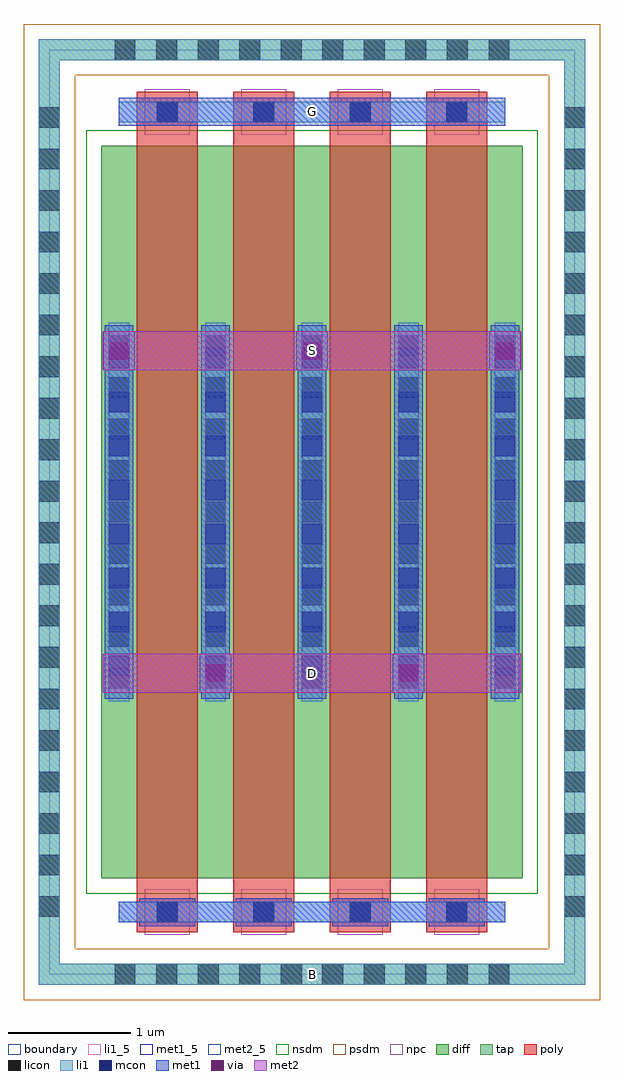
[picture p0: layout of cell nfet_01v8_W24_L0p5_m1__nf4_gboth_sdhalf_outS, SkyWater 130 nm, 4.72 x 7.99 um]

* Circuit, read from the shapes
.subckt nfet_01v8_W24_L0p5_m1__nf4_gboth_sdhalf_outS B D G S
XM1 D G S B sky130_fd_pr__nfet_01v8 w=6 l=0.5 m=4
.ends

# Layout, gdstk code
import gdstk
lib = gdstk.Library(unit=1e-6, precision=1e-09)
def R(c, l, rs):  # rectangles x0, y0, x1, y1
    for r in rs: c.add(gdstk.rectangle(r[:2], r[2:], *l))
def A(c, l, x, y, w, h, nx, ny, dx, dy):  # array of equal rectangles
    R(c, l, [(x+i*dx, y+j*dy, x+i*dx+w, y+j*dy+h) for i in range(nx) for j in range(ny)])
diff = (65, 20)
tap = (65, 44)
poly = (66, 20)
licon = (66, 44)
li1_5 = (67, 5)
li1 = (67, 20)
mcon = (67, 44)
met1_5 = (68, 5)
met1 = (68, 20)
via = (68, 44)
met2_5 = (69, 5)
met2 = (69, 20)
nsdm = (93, 44)
psdm = (94, 20)
npc = (95, 20)
boundary = (235, 4)

sky130_fd_pr__nfet_01v8_ = lib.new_cell('sky130_fd_pr__nfet_01v8_NZFWS7')
R(sky130_fd_pr__nfet_01v8_, diff, [(-1.725,-3,1.725,3)])
R(sky130_fd_pr__nfet_01v8_, tap, [(-2.235,-3.87,2.235,-3.7), (-2.235,-3.7,-2.065,3.7), (2.065,-3.7,2.235,3.7), (-2.235,3.7,2.235,3.87)])
A(sky130_fd_pr__nfet_01v8_, poly, -1.435, -3.44, 0.5, 6.88, 4, 1, 0.79, 0)
A(sky130_fd_pr__nfet_01v8_, licon, -1.615, -3.87, 0.17, 0.17, 10, 2, 0.34, 7.57)
A(sky130_fd_pr__nfet_01v8_, licon, -1.27, -3.36, 0.17, 0.17, 4, 2, 0.79, 6.55)
A(sky130_fd_pr__nfet_01v8_, licon, -2.235, -3.315, 0.17, 0.17, 1, 20, 0, 0.34)
A(sky130_fd_pr__nfet_01v8_, licon, 2.065, -3.315, 0.17, 0.17, 1, 20, 0, 0.34)
A(sky130_fd_pr__nfet_01v8_, licon, -1.665, -1.445, 0.17, 0.17, 5, 9, 0.79, 0.34)
A(sky130_fd_pr__nfet_01v8_, li1, -1.665, -1.55, 0.17, 3.1, 5, 1, 0.79, 0)
R(sky130_fd_pr__nfet_01v8_, li1, [(-2.235,-3.87,2.235,-3.7), (-2.235,-3.7,-2.065,3.7), (2.065,-3.7,2.235,3.7), (-1.58,-3.36,1.58,-3.19), (-1.58,3.19,1.58,3.36), (-2.235,3.7,2.235,3.87)])
A(sky130_fd_pr__nfet_01v8_, mcon, -1.27, -3.36, 0.17, 0.17, 4, 2, 0.79, 6.55)
A(sky130_fd_pr__nfet_01v8_, mcon, -1.665, -1.345, 0.17, 0.17, 5, 8, 0.79, 0.36)
A(sky130_fd_pr__nfet_01v8_, met1, -1.415, -3.39, 0.46, 0.03, 4, 2, 0.79, 0.2)
A(sky130_fd_pr__nfet_01v8_, met1, -1.695, -1.53, 0.23, 3.06, 5, 1, 0.79, 0)
A(sky130_fd_pr__nfet_01v8_, met1, -1.415, 3.16, 0.46, 0.03, 4, 2, 0.79, 0.2)
R(sky130_fd_pr__nfet_01v8_, met1, [(-1.58,-3.36,1.58,-3.19), (-1.58,3.19,1.58,3.36)])
R(sky130_fd_pr__nfet_01v8_, nsdm, [(-1.85,-3.125,1.85,3.125)])
R(sky130_fd_pr__nfet_01v8_, psdm, [(-2.36,-3.995,2.36,-3.575), (-2.36,-3.575,-1.94,3.575), (1.94,-3.575,2.36,3.575), (-2.36,3.575,2.36,3.995)])
A(sky130_fd_pr__nfet_01v8_, npc, -1.37, -3.46, 0.37, 0.37, 4, 2, 0.79, 6.55)
R(sky130_fd_pr__nfet_01v8_, boundary, [(-2.15,-3.785,2.15,3.785)])
sky130_fd_pr__nfet_01v8_.add(gdstk.Label('B', (0,-3.785), layer=67, texttype=5))
sky130_fd_pr__nfet_01v8_.add(gdstk.Label('D0', (-1.58,0), layer=67, texttype=5))
sky130_fd_pr__nfet_01v8_.add(gdstk.Label('G', (1.185,3.275), layer=67, texttype=5))
sky130_fd_pr__nfet_01v8_.add(gdstk.Label('G', (0.395,3.275), layer=67, texttype=5))
sky130_fd_pr__nfet_01v8_.add(gdstk.Label('G', (-0.395,3.275), layer=67, texttype=5))
sky130_fd_pr__nfet_01v8_.add(gdstk.Label('G', (-1.185,3.275), layer=67, texttype=5))
sky130_fd_pr__nfet_01v8_.add(gdstk.Label('S1', (-0.79,0), layer=67, texttype=5))
sky130_fd_pr__nfet_01v8_.add(gdstk.Label('D2', (0,0), layer=67, texttype=5))
sky130_fd_pr__nfet_01v8_.add(gdstk.Label('S3', (0.79,0), layer=67, texttype=5))

nfet_01v8_w24_l0p5_m1__n = lib.new_cell('nfet_01v8_W24_L0p5_m1__nf4_gboth_sdhalf_outS')
R(nfet_01v8_w24_l0p5_m1__n, li1_5, [(2.065,-0.085,2.235,0.085)])
R(nfet_01v8_w24_l0p5_m1__n, li1, [(2.065,-0.085,2.235,0.085)])
R(nfet_01v8_w24_l0p5_m1__n, met1_5, [(0.57,6.945,3.73,7.175)])
A(nfet_01v8_w24_l0p5_m1__n, met1, 0.44, 4.945, 0.26, 0.32, 3, 1, 1.58, 0)
R(nfet_01v8_w24_l0p5_m1__n, met1, [(1.23,2.305,1.49,2.625), (2.81,2.305,3.07,2.625), (0.57,6.945,3.73,7.175)])
A(nfet_01v8_w24_l0p5_m1__n, via, 0.495, 5.03, 0.15, 0.15, 3, 1, 1.58, 0)
R(nfet_01v8_w24_l0p5_m1__n, via, [(1.285,2.39,1.435,2.54), (2.865,2.39,3.015,2.54)])
R(nfet_01v8_w24_l0p5_m1__n, met2_5, [(0.435,2.305,3.865,2.625), (0.435,4.945,3.865,5.265)])
R(nfet_01v8_w24_l0p5_m1__n, met2, [(0.435,2.305,3.865,2.625), (0.435,4.945,3.865,5.265)])
nfet_01v8_w24_l0p5_m1__n.add(gdstk.Reference(sky130_fd_pr__nfet_01v8_, (2.15,3.785)))
nfet_01v8_w24_l0p5_m1__n.add(gdstk.Label('S', (2.15,5.105), layer=69, texttype=5))
nfet_01v8_w24_l0p5_m1__n.add(gdstk.Label('D', (2.15,2.465), layer=69, texttype=5))
nfet_01v8_w24_l0p5_m1__n.add(gdstk.Label('G', (2.15,7.06), layer=68, texttype=5))
nfet_01v8_w24_l0p5_m1__n.add(gdstk.Label('B', (2.15,0), layer=67, texttype=5))

lib.write_gds('nfet_01v8_W24_L0p5_m1__nf4_gboth_sdhalf_outS.gds')
